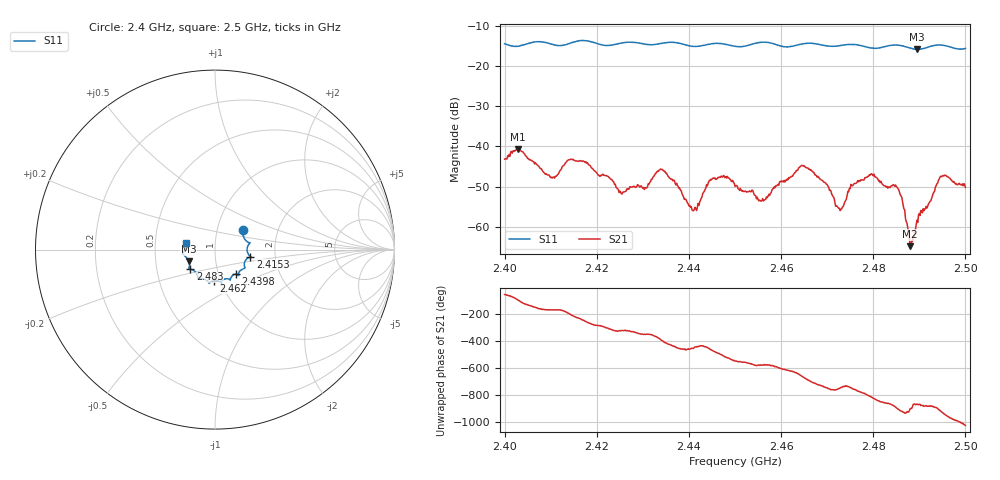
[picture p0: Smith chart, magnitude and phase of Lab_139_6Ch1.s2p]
# Hz S RI R 50
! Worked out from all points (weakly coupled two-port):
!   601 points, 2.4 GHz to 2.5 GHz, reference 50 ohm
!   highest |S21| = -40.74 dB at 2.4028 GHz (marker M1); lowest = -64.7 dB at 2.488 GHz (marker M2)
!   lowest |S11| = -15.9 dB at 2.4895 GHz (marker M3), VSWR 1.38, Z = 37 - j5 ohm
!   |S11| at or under -10 dB: start of sweep to end of sweep
!   S12 and S22 are empty: the file has one direction only
!   S11 on the Smith chart (normalised r, x): 2.4 GHz: 1.33, +0.29; 2.4153 GHz: 1.48, -0.12; 2.4398 GHz: 1.21, -0.34; 2.462 GHz: 0.93, -0.33; 2.483 GHz: 0.74, -0.17; 2.5 GHz: 0.72, +0.06
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2.4e9  0.155 0.1065  0.00351 -0.00603  0 0  0 0
2.402833e9  0.1636 0.0617  -0.00141 -0.00907  0 0  0 0
2.410333e9  0.1837 0.0223  -0.00401 -0.000563  0 0  0 0
2.415333e9  0.1965 -0.0387  -0.00475 0.00465  0 0  0 0
2.416667e9  0.2021 -0.0427  -0.00308 0.00583  0 0  0 0
2.425333e9  0.1654 -0.0973  0.00209 0.00152  0 0  0 0
2.433333e9  0.1312 -0.1336  0.00461 -0.00164  0 0  0 0
2.439833e9  0.1152 -0.1364  -0.00029 -0.00192  0 0  0 0
2.445167e9  0.0848 -0.1692  -0.00159 -0.00371  0 0  0 0
2.45e9  0.0647 -0.1625  -0.00316 0.000472  0 0  0 0
2.456e9  0.0382 -0.1931  -0.00174 0.00143  0 0  0 0
2.462e9  -0.00537 -0.1732  -0.000526 0.00414  0 0  0 0
2.466667e9  -0.0342 -0.1876  0.00476 0.00139  0 0  0 0
2.472667e9  -0.0769 -0.1606  0.00146 -0.000877  0 0  0 0
2.479333e9  -0.1052 -0.1302  -6.07e-06 -0.00441  0 0  0 0
2.483e9  -0.1377 -0.1096  -0.00242 -0.00208  0 0  0 0
2.483333e9  -0.1402 -0.1093  -0.00243 -0.00198  0 0  0 0
2.485667e9  -0.1457 -0.1056  -0.00272 0.000421  0 0  0 0
2.488e9  -0.1422 -0.0862  -0.000579 5.9e-06  0 0  0 0
2.4895e9  -0.1462 -0.0659  -0.001 -0.000692  0 0  0 0
2.494833e9  -0.18 -0.0204  -0.00386 0.00168  0 0  0 0
2.5e9  -0.1597 0.0394  0.0017 0.00259  0 0  0 0
